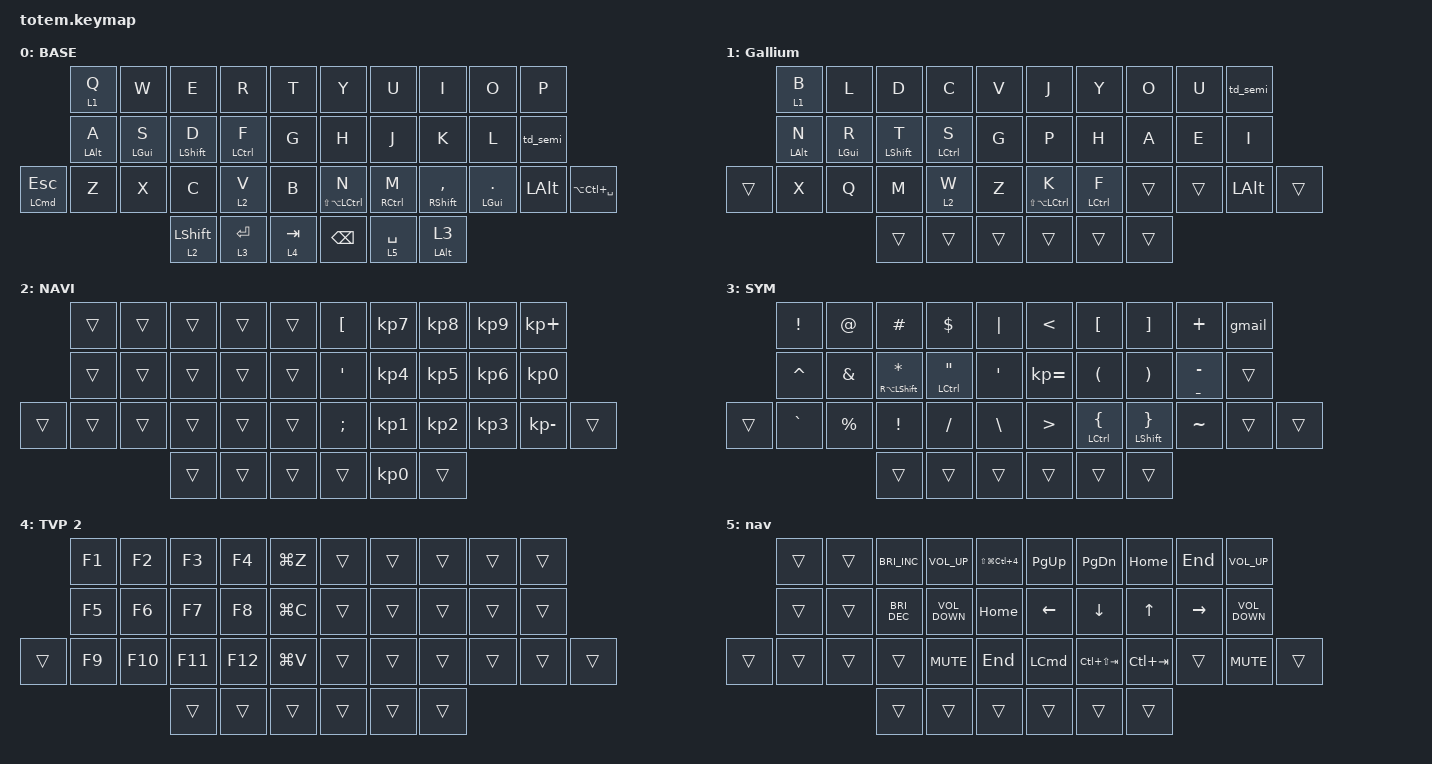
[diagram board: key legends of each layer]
//
//                                                        ▀▀▀▀▀     ▀▀▀▀▀          ▀▀█▀▀
//                                                        ▄▀▀▀▄  ▄  ▄▀▀▀▄  ▄  ▄▀▀▀▄  █  ▄▀▀▀▄
//                                                        █   █  █  █   █  █  █   █  █  █   █
//                                                         ▀▀▀   █   ▀▀▀   █   ▀▀▀   ▀   ▀▀▀
//                                                               █      ▄▄▄█▄▄▄    █   █  
//                                                               ▀      █  █  █     █▄█
//                                                             ▀▀▀▀▀    █  █  █      ▀
//                                                                      ▀  ▀  ▀
//
// ▄▄▄▄▄▄▄▄▄▄▄▄▄▄▄▄▄▄▄▄▄▄▄▄▄▄▄▄▄▄▄▄▄▄▄▄▄▄▄▄▄▄▄▄▄▄▄▄▄▄▄▄▄▄▄▄▄▄▄▄▄▄▄▄▄▄▄▄▄▄▄▄▄▄▄▄▄▄▄▄▄▄▄▄▄▄▄▄▄▄▄▄▄▄▄▄▄▄▄▄▄▄▄▄▄▄▄▄▄▄▄▄▄▄▄▄▄▄▄▄▄▄▄▄▄▄▄▄▄▄▄▄▄▄▄▄▄▄▄▄▄▄▄▄▄▄▄▄▄

#include <behaviors.dtsi>
#include <dt-bindings/zmk/keys.h>

#define BASE 0
#define NAV  1
#define SYM  2
#define ADJ  3
#define TVP1 4
#define TVP2 5

&mt {
    quick-tap-ms = <100>;
    global-quick-tap;
    flavor = "tap-preferred";
    tapping-term-ms = <170>;
};

/ {
    combos {
        compatible = "zmk,combos";

        esc {
            timeout-ms = <50>;
            key-positions = <12 13>;
            bindings = <&kp ESC>;
            layers = <0 1>;
        };

        question {
            bindings = <&kp QUESTION>;
            key-positions = <6 7>;
            timeout-ms = <50>;
            layers = <0 1>;
        };

        left_cmd {
            bindings = <&kp LEFT_COMMAND>;
            key-positions = <2 3>;
        };

        Copy {
            bindings = <&kp LG(C)>;
            key-positions = <23 24>;
            timeout-ms = <50>;
            layers = <0 1>;
        };

        Paste {
            bindings = <&kp LG(V)>;
            key-positions = <24 25>;
            timeout-ms = <50>;
            layers = <0 1>;
        };

        tnmux {
            bindings = <&tmux_layer>;
            key-positions = <14 13>;
            layers = <0 1>;
        };
    };

    macros {
        gmail: gmail {
            compatible = "zmk,behavior-macro";
            #binding-cells = <0>;
            bindings = <&none &kp T &kp O &kp M &kp A &kp S &kp DOT &kp B &kp O &kp R &kp E &kp M &kp A &kp L &kp M &kp AT &kp G &kp M &kp A &kp I &kp L &kp DOT &kp C &kp O &kp M>;
            label = "GMAIL";
        };

        tmux_layer: tmux_layer {
            compatible = "zmk,behavior-macro";
            #binding-cells = <0>;
            bindings = <&kp LC(B) &sl 2>;
            label = "TMUX_LAYER";
        };
    };

    behaviors {
        td_semi: td_semi {
            compatible = "zmk,behavior-tap-dance";
            label = "TD_SEMI";
            #binding-cells = <0>;
            bindings = <&kp SEMI>, <&kp COLON>;
        };

        td_minus: td_minus {
            compatible = "zmk,behavior-tap-dance";
            label = "TD_MINUS";
            #binding-cells = <0>;
            bindings = <&kp MINUS>, <&kp PLUS>;
        };

        tgl_layer: tgl_layer {
            compatible = "zmk,behavior-hold-tap";
            label = "tgl_layer";
            bindings = <&tog>, <&kp>;

            #binding-cells = <2>;
            tapping-term-ms = <200>;
            flavor = "tap-preferred";
        };

        sticky_key_or_layer: sticky_key_or_layer {
            compatible = "zmk,behavior-hold-tap";
            label = "STICKY_KEY_OR_LAYER";
            bindings = <&mo>, <&sk>;

            #binding-cells = <2>;
            flavor = "tap-preferred";
            tapping-term-ms = <200>;
        };

        sticky_layer_or_key: sticky_layer_or_key {
            compatible = "zmk,behavior-hold-tap";
            label = "STICKY_LAYER_OR_KEY";
            bindings = <&kp>, <&sl>;

            #binding-cells = <2>;
            tapping-term-ms = <300>;
            flavor = "tap-preferred";
        };

        slow_mod_tap: slow_mod_tap {
            compatible = "zmk,behavior-hold-tap";
            label = "SLOW_MOD_TAP";
            bindings = <&kp>, <&kp>;

            #binding-cells = <2>;
            flavor = "tap-preferred";
            tapping-term-ms = <300>;
        };
    };

    keymap {
        compatible = "zmk,keymap";

        // ▄▄▄▄▄▄▄▄▄▄▄▄▄▄▄▄▄▄▄▄▄▄▄▄▄▄▄▄▄▄▄▄▄▄▄▄▄▄▄▄▄▄▄▄▄▄▄▄▄▄▄▄▄▄▄▄▄▄▄▄▄▄▄▄▄▄▄▄▄▄▄▄▄▄▄▄▄▄▄▄▄▄▄▄▄▄▄▄▄▄▄▄▄▄▄▄▄▄▄▄▄▄▄▄▄▄▄▄▄▄▄▄▄▄▄▄▄▄▄▄▄▄▄▄▄▄▄▄▄▄▄▄▄▄▄▄▄▄▄▄▄▄▄▄▄▄▄▄▄

        base_layer {
            // ┏━━━━━━━━━━━━━━━━━━━━━━━━━━━━━━━━━━━━━━━┓

            label = "BASE";

            // ┗━━━━━━━━━━━━━━━━━━━━━━━━━━━━━━━━━━━━━━━┛
            //             ┏━━━━━━━━━━━┳━━━━━━━━━━━┳━━━━━━━━━━━┳━━━━━━━━━━━┳━━━━━━━━━━━┓   ┏━━━━━━━━━━━┳━━━━━━━━━━━┳━━━━━━━━━━━┳━━━━━━━━━━━┳━━━━━━━━━━━┓
            //             ┃     Q     ┃     W     ┃     F     ┃     P     ┃     G     ┃   ┃     J     ┃     L     ┃     U     ┃     Y     ┃     ;     ┃
            //             ┣━━━━━━━━━━━╋━━━━━━━━━━━╋━━━━━━━━━━━╋━━━━━━━━━━━╋━━━━━━━━━━━┫   ┣━━━━━━━━━━━╋━━━━━━━━━━━╋━━━━━━━━━━━╋━━━━━━━━━━━╋━━━━━━━━━━━┫
            //             ┃     A     ┃     R     ┃     S     ┃     T     ┃     D     ┃   ┃     H     ┃     N     ┃     E     ┃     I     ┃     O     ┃
            // ┏━━━━━━━━━━━╋━━━━━━━━━━━╋━━━━━━━━━━━╋━━━━━━━━━━━╋━━━━━━━━━━━╋━━━━━━━━━━━┫   ┣━━━━━━━━━━━╋━━━━━━━━━━━╋━━━━━━━━━━━╋━━━━━━━━━━━╋━━━━━━━━━━━╋━━━━━━━━━━━┓
            // ┃     Q     ┃     Z     ┃     X     ┃     C     ┃     V     ┃     B     ┃   ┃     K     ┃     M     ┃     ,     ┃     .     ┃     /     ┃     \     ┃
            // ┗━━━━━━━━━━━┻━━━━━━━━━━━┻━━━━━━━━━━━╋━━━━━━━━━━━╋━━━━━━━━━━━╋━━━━━━━━━━━┫   ┣━━━━━━━━━━━╋━━━━━━━━━━━╋━━━━━━━━━━━╋━━━━━━━━━━━┻━━━━━━━━━━━┻━━━━━━━━━━━┛
            //                                     ┃    DEL    ┃    TAB    ┃    SPC    ┃   ┃   ENTER   ┃           ┃   BSPC    ┃
            //                                     ┗━━━━━━━━━━━┻━━━━━━━━━━━┻━━━━━━━━━━━┛   ┗━━━━━━━━━━━┻━━━━━━━━━━━┻━━━━━━━━━━━┛

            bindings = <
                      &tgl_layer 1 Q        &kp W                 &kp E                              &kp R               &kp T        &kp Y                       &kp U                &kp I                            &kp O                      &kp P
                      &slow_mod_tap LALT A  &slow_mod_tap LGUI S  &mt LEFT_SHIFT D                   &mt LEFT_CONTROL F  &kp G        &kp H                       &kp J                &kp K                            &kp L                      &td_semi
&mt LEFT_COMMAND ESC  &kp Z                 &kp X                 &kp C                              &lt 2 V             &kp B        &mt LS(LA(LEFT_CONTROL)) N  &mt RIGHT_CONTROL M  &mt RIGHT_SHIFT COMMA            &slow_mod_tap LGUI PERIOD  &kp LALT  &kp LA(LC(SPACE))
                                                                  &sticky_key_or_layer 2 LEFT_SHIFT  &lt 3 ENTER         &lt 4 TAB    &kp BACKSPACE               &lt 5 SPACE          &sticky_layer_or_key LEFT_ALT 3
            >;
        };

        Gallium {
            bindings = <
        &tgl_layer 1 B        &kp L                 &kp D        &kp C        &kp V     &kp J                       &kp Y        &kp O   &kp U   &td_semi
        &slow_mod_tap LALT N  &slow_mod_tap LGUI R  &mt LSHFT T  &mt LCTRL S  &kp G     &kp P                       &kp H        &kp A   &kp E   &kp I
&trans  &kp X                 &kp Q                 &kp M        &lt 2 W      &kp Z     &mt LS(LA(LEFT_CONTROL)) K  &mt LCTRL F  &trans  &trans  &kp LALT  &trans
                                                    &trans       &trans       &trans    &trans                      &trans       &trans
            >;
        };

        num {
            // ┏━━━━━━━━━━━━━━━━━━━━━━━━━━━━━━━━━━━━━━━┓

            label = "NAVI";

            // ┗━━━━━━━━━━━━━━━━━━━━━━━━━━━━━━━━━━━━━━━┛
            //             ┏━━━━━━━━━━━┳━━━━━━━━━━━┳━━━━━━━━━━━┳━━━━━━━━━━━┳━━━━━━━━━━━┓   ┏━━━━━━━━━━━┳━━━━━━━━━━━┳━━━━━━━━━━━┳━━━━━━━━━━━┳━━━━━━━━━━━┓
            //             ┃           ┃           ┃     UP    ┃           ┃     {     ┃   ┃     }     ┃     7     ┃     8     ┃     9     ┃     +     ┃
            //             ┣━━━━━━━━━━━╋━━━━━━━━━━━╋━━━━━━━━━━━╋━━━━━━━━━━━╋━━━━━━━━━━━┫   ┣━━━━━━━━━━━╋━━━━━━━━━━━╋━━━━━━━━━━━╋━━━━━━━━━━━╋━━━━━━━━━━━┫
            //             ┃   SHIFT   ┃   LEFT    ┃    DOWN   ┃   RIGHT   ┃     [     ┃   ┃     ]     ┃     4     ┃     5     ┃     6     ┃     -     ┃
            // ┏━━━━━━━━━━━╋━━━━━━━━━━━╋━━━━━━━━━━━╋━━━━━━━━━━━╋━━━━━━━━━━━╋━━━━━━━━━━━┫   ┣━━━━━━━━━━━╋━━━━━━━━━━━╋━━━━━━━━━━━╋━━━━━━━━━━━╋━━━━━━━━━━━╋━━━━━━━━━━━┓
            // ┃           ┃           ┃   P UP    ┃  C LOCK   ┃  P DOWN   ┃     (     ┃   ┃     )     ┃     1     ┃     2     ┃     3     ┃     *     ┃           ┃
            // ┗━━━━━━━━━━━┻━━━━━━━━━━━┻━━━━━━━━━━━╋━━━━━━━━━━━╋━━━━━━━━━━━╋━━━━━━━━━━━┫   ┣━━━━━━━━━━━╋━━━━━━━━━━━╋━━━━━━━━━━━╋━━━━━━━━━━━┻━━━━━━━━━━━┻━━━━━━━━━━━┛
            //                                     ┃           ┃    TAB    ┃    SPC    ┃   ┃    DEL    ┃     0     ┃           ┃
            //                                     ┗━━━━━━━━━━━┻━━━━━━━━━━━┻━━━━━━━━━━━┛   ┗━━━━━━━━━━━┻━━━━━━━━━━━┻━━━━━━━━━━━┛

            bindings = <
        &trans  &trans  &trans  &trans  &trans    &kp LBKT  &kp KP_N7  &kp KP_N8  &kp KP_N9  &kp KP_PLUS
        &trans  &trans  &trans  &trans  &trans    &kp SQT   &kp KP_N4  &kp KP_N5  &kp KP_N6  &kp KP_N0
&trans  &trans  &trans  &trans  &trans  &trans    &kp SEMI  &kp KP_N1  &kp KP_N2  &kp KP_N3  &kp KP_MINUS  &trans
                        &trans  &trans  &trans    &trans    &kp KP_N0  &trans
            >;
        };

        sym {
            // ┏━━━━━━━━━━━━━━━━━━━━━━━━━━━━━━━━━━━━━━━┓

            label = "SYM";

            // ┗━━━━━━━━━━━━━━━━━━━━━━━━━━━━━━━━━━━━━━━┛
            //             ┏━━━━━━━━━━━┳━━━━━━━━━━━┳━━━━━━━━━━━┳━━━━━━━━━━━┳━━━━━━━━━━━┓   ┏━━━━━━━━━━━┳━━━━━━━━━━━┳━━━━━━━━━━━┳━━━━━━━━━━━┳━━━━━━━━━━━┓
            //             ┃     !     ┃     @     ┃     #     ┃     $     ┃     %     ┃   ┃     ˆ     ┃     &     ┃     Ü     ┃     '     ┃     "     ┃
            //             ┣━━━━━━━━━━━╋━━━━━━━━━━━╋━━━━━━━━━━━╋━━━━━━━━━━━╋━━━━━━━━━━━┫   ┣━━━━━━━━━━━╋━━━━━━━━━━━╋━━━━━━━━━━━╋━━━━━━━━━━━╋━━━━━━━━━━━┫
            //             ┃     Ä     ┃           ┃    SZ     ┃           ┃           ┃   ┃   MUTE    ┃   YEN     ┃   EURO    ┃  POUND    ┃     Ö     ┃
            // ┏━━━━━━━━━━━╋━━━━━━━━━━━╋━━━━━━━━━━━╋━━━━━━━━━━━╋━━━━━━━━━━━╋━━━━━━━━━━━┫   ┣━━━━━━━━━━━╋━━━━━━━━━━━╋━━━━━━━━━━━╋━━━━━━━━━━━╋━━━━━━━━━━━╋━━━━━━━━━━━┓
            // ┃           ┃  EMAIL1   ┃  EMAIL2   ┃           ┃           ┃           ┃   ┃   VOL-    ┃   VOL+    ┃   LAST    ┃   NEXT    ┃     \     ┃           ┃
            // ┗━━━━━━━━━━━┻━━━━━━━━━━━┻━━━━━━━━━━━╋━━━━━━━━━━━╋━━━━━━━━━━━╋━━━━━━━━━━━┫   ┣━━━━━━━━━━━╋━━━━━━━━━━━╋━━━━━━━━━━━╋━━━━━━━━━━━┻━━━━━━━━━━━┻━━━━━━━━━━━┛
            //                                     ┃           ┃    GIF    ┃    ADJ    ┃   ┃           ┃           ┃           ┃
            //                                     ┗━━━━━━━━━━━┻━━━━━━━━━━━┻━━━━━━━━━━━┛   ┗━━━━━━━━━━━┻━━━━━━━━━━━┻━━━━━━━━━━━┛

            bindings = <
        &kp EXCL   &kp AT       &kp HASH                     &kp DLLR                 &kp PIPE            &kp LESS_THAN     &kp LEFT_BRACKET             &kp RIGHT_BRACKET           &kp PLUS         &gmail
        &kp CARET  &kp AMPS     &mt RA(LEFT_SHIFT) ASTERISK  &mt LCTRL DOUBLE_QUOTES  &kp SINGLE_QUOTE    &kp KP_EQUAL      &kp LEFT_PARENTHESIS         &kp RIGHT_PARENTHESIS       &mt UNDER MINUS  &trans
&trans  &kp GRAVE  &kp PERCENT  &kp EXCL                     &kp SLASH                &kp BACKSLASH       &kp GREATER_THAN  &mt LEFT_CONTROL LEFT_BRACE  &mt LEFT_SHIFT RIGHT_BRACE  &kp TILDE        &trans  &trans
                                &trans                       &trans                   &trans              &trans            &trans                       &trans
            >;
        };

        Fn {
            // ┏━━━━━━━━━━━━━━━━━━━━━━━━━━━━━━━━━━━━━━━┓

            label = "TVP 2";

            // ┗━━━━━━━━━━━━━━━━━━━━━━━━━━━━━━━━━━━━━━━┛
            //             ┏━━━━━━━━━━━┳━━━━━━━━━━━┳━━━━━━━━━━━┳━━━━━━━━━━━┳━━━━━━━━━━━┓   ┏━━━━━━━━━━━┳━━━━━━━━━━━┳━━━━━━━━━━━┳━━━━━━━━━━━┳━━━━━━━━━━━┓
            //             ┃ SOLO      ┃ TOGGLE IN ┃ RESET ROT ┃ TOGGLE OUT┃ TAKE SNAP ┃   ┃           ┃           ┃           ┃           ┃           ┃
            //             ┣━━━━━━━━━━━╋━━━━━━━━━━━╋━━━━━━━━━━━╋━━━━━━━━━━━╋━━━━━━━━━━━┫   ┣━━━━━━━━━━━╋━━━━━━━━━━━╋━━━━━━━━━━━╋━━━━━━━━━━━╋━━━━━━━━━━━┫
            //             ┃ ---       ┃ LAST KEY  ┃ NEW KEY   ┃ NEXT KEY  ┃ ENTER     ┃   ┃           ┃           ┃           ┃           ┃           ┃
            // ┏━━━━━━━━━━━╋━━━━━━━━━━━╋━━━━━━━━━━━╋━━━━━━━━━━━╋━━━━━━━━━━━╋━━━━━━━━━━━┫   ┣━━━━━━━━━━━╋━━━━━━━━━━━╋━━━━━━━━━━━╋━━━━━━━━━━━╋━━━━━━━━━━━╋━━━━━━━━━━━┓
            // ┃           ┃ FULLSCR   ┃ CPY2BRUSH ┃ DEL HEAD  ┃ PSTinPLACE┃ BOOK MARK ┃   ┃           ┃           ┃           ┃           ┃           ┃           ┃
            // ┗━━━━━━━━━━━┻━━━━━━━━━━━┻━━━━━━━━━━━╋━━━━━━━━━━━╋━━━━━━━━━━━╋━━━━━━━━━━━┫   ┣━━━━━━━━━━━╋━━━━━━━━━━━╋━━━━━━━━━━━╋━━━━━━━━━━━┻━━━━━━━━━━━┻━━━━━━━━━━━┛
            //                                     ┃           ┃ REDO/SAV1 ┃TRANS/WARP ┃   ┃           ┃           ┃           ┃
            //                                     ┗━━━━━━━━━━━┻━━━━━━━━━━━┻━━━━━━━━━━━┛   ┗━━━━━━━━━━━┻━━━━━━━━━━━┻━━━━━━━━━━━┛

            bindings = <
        &kp F1  &kp F2   &kp F3   &kp F4   &kp LG(Z)    &trans  &trans  &trans  &trans  &trans
        &kp F5  &kp F6   &kp F7   &kp F8   &kp LG(C)    &trans  &trans  &trans  &trans  &trans
&trans  &kp F9  &kp F10  &kp F11  &kp F12  &kp LG(V)    &trans  &trans  &trans  &trans  &trans  &trans
                         &trans   &trans   &trans       &trans  &trans  &trans
            >;
        };

        nav {
            bindings = <
        &trans  &trans  &kp C_BRIGHTNESS_INC  &kp C_VOLUME_UP    &kp LS(LG(LC(NUMBER_4)))    &kp PAGE_UP       &kp PAGE_DOWN    &kp HOME      &kp END    &kp K_VOLUME_UP
        &trans  &trans  &kp C_BRIGHTNESS_DEC  &kp C_VOLUME_DOWN  &kp HOME                    &kp LEFT_ARROW    &kp DOWN         &kp UP_ARROW  &kp RIGHT  &kp K_VOLUME_DOWN
&trans  &trans  &trans  &trans                &kp K_MUTE         &kp END                     &kp LEFT_COMMAND  &kp LC(LS(TAB))  &kp LC(TAB)   &trans     &kp K_MUTE         &trans
                        &trans                &trans             &trans                      &trans            &trans           &trans
            >;
        };
    };
};
